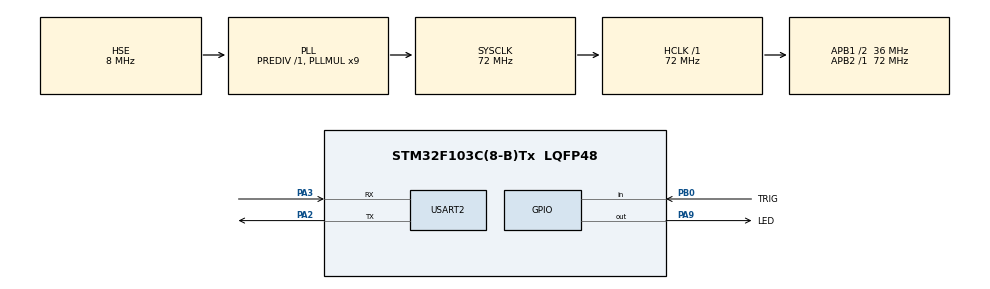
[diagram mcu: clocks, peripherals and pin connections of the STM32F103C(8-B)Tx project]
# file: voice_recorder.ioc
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Mcu.Family=STM32F1
Mcu.Name=STM32F103C(8-B)Tx
Mcu.Package=LQFP48
NVIC.PriorityGroup=NVIC_PRIORITYGROUP_4
NVIC.TIM4_IRQn=true\:0\:0\:false\:false\:true\:true\:true\:true
PA13.Mode=Serial_Wire
PA13.Signal=SYS_JTMS-SWDIO
PA14.Mode=Serial_Wire
PA14.Signal=SYS_JTCK-SWCLK
PA2.Mode=Asynchronous
PA2.Signal=USART2_TX
PA3.Mode=Asynchronous
PA3.Signal=USART2_RX
PA9.GPIO_Label=LED
PA9.Signal=GPIO_Output
PB0.GPIO_Label=TRIG
PB0.GPIO_PuPd=GPIO_PULLUP
PB0.Signal=GPIO_Input
PD0-OSC_IN.Mode=HSE-External-Oscillator
PD0-OSC_IN.Signal=RCC_OSC_IN
PD1-OSC_OUT.Mode=HSE-External-Oscillator
PD1-OSC_OUT.Signal=RCC_OSC_OUT
ProjectManager.HeapSize=0x200
ProjectManager.StackSize=0x400
ProjectManager.TargetToolchain=STM32CubeIDE
RCC.AHBFreq_Value=72000000
RCC.APB1CLKDivider=RCC_HCLK_DIV2
RCC.APB1Freq_Value=36000000
RCC.APB1TimFreq_Value=72000000
RCC.APB2Freq_Value=72000000
RCC.APB2TimFreq_Value=72000000
RCC.HCLKFreq_Value=72000000
RCC.PLLMUL=RCC_PLL_MUL9
RCC.PLLSourceVirtual=RCC_PLLSOURCE_HSE
RCC.SYSCLKFreq_VALUE=72000000
RCC.SYSCLKSource=RCC_SYSCLKSOURCE_PLLCLK
RCC.USBFreq_Value=72000000
TIM4.AutoReloadPreload=TIM_AUTORELOAD_PRELOAD_ENABLE
TIM4.Period=1000
TIM4.Prescaler=72
USART2.VirtualMode=VM_ASYNC
VP_TIM4_VS_ClockSourceINT.Mode=Internal
board=custom

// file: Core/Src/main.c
/* USER CODE BEGIN Header */
/**
  ******************************************************************************
  * @file           : main.c
  * @brief          : Main program body
  ******************************************************************************
  * @attention
  *
  * Copyright (c) 2024 STMicroelectronics.
  * All rights reserved.
  *
  * This software is licensed under terms that can be found in the LICENSE file
  * in the root directory of this software component.
  * If no LICENSE file comes with this software, it is provided AS-IS.
  *
  ******************************************************************************
  */
/* USER CODE END Header */
#include "main.h"

/* USER CODE BEGIN Includes */
#include <string.h>
/* USER CODE END Includes */

/* USER CODE BEGIN PD */

#define DEBOUNCETIME 50
/* USER CODE END PD */

TIM_HandleTypeDef htim4;

UART_HandleTypeDef huart2;

/* USER CODE BEGIN PV */
uint8_t lastbutton,actbutton;
uint8_t debouncetimer;
char* playmode = "AT+PLAYMODE=3\r\n";
char* function = "AT+FUNCTION=1\r\n";
char* promptoff = "AT+PROMPT=OFF\r\n";
char* play = "AT+PLAY=LAST\r\n";

uint16_t ledtimer = 0;

/* USER CODE END PV */

void SystemClock_Config(void);
static void MX_GPIO_Init(void);
static void MX_USART2_UART_Init(void);
static void MX_TIM4_Init(void);

int main(void)
{

  /* MCU Configuration--------------------------------------------------------*/

  /* Reset of all peripherals, Initializes the Flash interface and the Systick. */
  HAL_Init();

  /* Configure the system clock */
  SystemClock_Config();

  /* Initialize all configured peripherals */
  MX_GPIO_Init();
  MX_USART2_UART_Init();
  MX_TIM4_Init();
  /* USER CODE BEGIN 2 */
  lastbutton = actbutton = HAL_GPIO_ReadPin(TRIG_GPIO_Port, TRIG_Pin);
  HAL_TIM_Base_Start_IT(&htim4);
  //led = low = green, high = red

  HAL_GPIO_WritePin(LED_GPIO_Port, LED_Pin, GPIO_PIN_RESET);//green
  HAL_Delay(500);
  HAL_GPIO_WritePin(LED_GPIO_Port, LED_Pin, GPIO_PIN_SET);//red
  HAL_Delay(500);
  HAL_GPIO_WritePin(LED_GPIO_Port, LED_Pin, GPIO_PIN_RESET);//green
  HAL_Delay(500);
  HAL_GPIO_WritePin(LED_GPIO_Port, LED_Pin, GPIO_PIN_SET);//red
  HAL_Delay(500);
  HAL_GPIO_WritePin(LED_GPIO_Port, LED_Pin, GPIO_PIN_RESET);//green
  HAL_UART_Transmit(&huart2, promptoff, strlen(promptoff), 100);
  HAL_Delay(500);
  HAL_GPIO_WritePin(LED_GPIO_Port, LED_Pin, GPIO_PIN_SET);//red
  HAL_UART_Transmit(&huart2, function, strlen(function), 100);
  HAL_Delay(500);
  HAL_GPIO_WritePin(LED_GPIO_Port, LED_Pin, GPIO_PIN_RESET);//green
  HAL_UART_Transmit(&huart2, playmode, strlen(playmode), 100);
  HAL_Delay(500);
  HAL_GPIO_WritePin(LED_GPIO_Port, LED_Pin, GPIO_PIN_SET);//red
  HAL_Delay(500);
  HAL_GPIO_WritePin(LED_GPIO_Port, LED_Pin, GPIO_PIN_RESET);//green
  /* USER CODE END 2 */

  /* Infinite loop */
  /* USER CODE BEGIN WHILE */
  while (1)
  {
	  actbutton = HAL_GPIO_ReadPin(TRIG_GPIO_Port, TRIG_Pin);
	  if(actbutton != lastbutton)
	  {
		  debouncetimer = DEBOUNCETIME;
		  while(debouncetimer >0)
		  {
			  actbutton = HAL_GPIO_ReadPin(TRIG_GPIO_Port, TRIG_Pin);
			  if(actbutton != lastbutton)
			  {
				  debouncetimer = DEBOUNCETIME;
				  lastbutton = actbutton;
			  }
		  }
		  if(lastbutton == 0)
		  {
			  HAL_GPIO_WritePin(LED_GPIO_Port, LED_Pin, GPIO_PIN_SET);//red
			  ledtimer = 2000;
			  HAL_UART_Transmit(&huart2, play, strlen(play), 100);
		  }
	  }
    /* USER CODE END WHILE */

  }
}

void SystemClock_Config(void)
{
  RCC_OscInitTypeDef RCC_OscInitStruct = {0};
  RCC_ClkInitTypeDef RCC_ClkInitStruct = {0};

  /** Initializes the RCC Oscillators according to the specified parameters
  * in the RCC_OscInitTypeDef structure.
  */
  RCC_OscInitStruct.OscillatorType = RCC_OSCILLATORTYPE_HSE;
  RCC_OscInitStruct.HSEState = RCC_HSE_ON;
  RCC_OscInitStruct.HSEPredivValue = RCC_HSE_PREDIV_DIV1;
  RCC_OscInitStruct.HSIState = RCC_HSI_ON;
  RCC_OscInitStruct.PLL.PLLState = RCC_PLL_ON;
  RCC_OscInitStruct.PLL.PLLSource = RCC_PLLSOURCE_HSE;
  RCC_OscInitStruct.PLL.PLLMUL = RCC_PLL_MUL9;
  if (HAL_RCC_OscConfig(&RCC_OscInitStruct) != HAL_OK)
  {
    Error_Handler();
  }

  /** Initializes the CPU, AHB and APB buses clocks
  */
  RCC_ClkInitStruct.ClockType = RCC_CLOCKTYPE_HCLK|RCC_CLOCKTYPE_SYSCLK
                              |RCC_CLOCKTYPE_PCLK1|RCC_CLOCKTYPE_PCLK2;
  RCC_ClkInitStruct.SYSCLKSource = RCC_SYSCLKSOURCE_PLLCLK;
  RCC_ClkInitStruct.AHBCLKDivider = RCC_SYSCLK_DIV1;
  RCC_ClkInitStruct.APB1CLKDivider = RCC_HCLK_DIV2;
  RCC_ClkInitStruct.APB2CLKDivider = RCC_HCLK_DIV1;

  if (HAL_RCC_ClockConfig(&RCC_ClkInitStruct, FLASH_LATENCY_2) != HAL_OK)
  {
    Error_Handler();
  }
}

static void MX_TIM4_Init(void)
{

  TIM_ClockConfigTypeDef sClockSourceConfig = {0};
  TIM_MasterConfigTypeDef sMasterConfig = {0};

  htim4.Instance = TIM4;
  htim4.Init.Prescaler = 72;
  htim4.Init.CounterMode = TIM_COUNTERMODE_UP;
  htim4.Init.Period = 1000;
  htim4.Init.ClockDivision = TIM_CLOCKDIVISION_DIV1;
  htim4.Init.AutoReloadPreload = TIM_AUTORELOAD_PRELOAD_ENABLE;
  if (HAL_TIM_Base_Init(&htim4) != HAL_OK)
  {
    Error_Handler();
  }
  sClockSourceConfig.ClockSource = TIM_CLOCKSOURCE_INTERNAL;
  if (HAL_TIM_ConfigClockSource(&htim4, &sClockSourceConfig) != HAL_OK)
  {
    Error_Handler();
  }
  sMasterConfig.MasterOutputTrigger = TIM_TRGO_RESET;
  sMasterConfig.MasterSlaveMode = TIM_MASTERSLAVEMODE_DISABLE;
  if (HAL_TIMEx_MasterConfigSynchronization(&htim4, &sMasterConfig) != HAL_OK)
  {
    Error_Handler();
  }

}

static void MX_USART2_UART_Init(void)
{

  huart2.Instance = USART2;
  huart2.Init.BaudRate = 115200;
  huart2.Init.WordLength = UART_WORDLENGTH_8B;
  huart2.Init.StopBits = UART_STOPBITS_1;
  huart2.Init.Parity = UART_PARITY_NONE;
  huart2.Init.Mode = UART_MODE_TX_RX;
  huart2.Init.HwFlowCtl = UART_HWCONTROL_NONE;
  huart2.Init.OverSampling = UART_OVERSAMPLING_16;
  if (HAL_UART_Init(&huart2) != HAL_OK)
  {
    Error_Handler();
  }

}

static void MX_GPIO_Init(void)
{
  GPIO_InitTypeDef GPIO_InitStruct = {0};

  /* GPIO Ports Clock Enable */
  __HAL_RCC_GPIOD_CLK_ENABLE();
  __HAL_RCC_GPIOA_CLK_ENABLE();
  __HAL_RCC_GPIOB_CLK_ENABLE();

  /*Configure GPIO pin Output Level */
  HAL_GPIO_WritePin(LED_GPIO_Port, LED_Pin, GPIO_PIN_RESET);

  /*Configure GPIO pin : TRIG_Pin */
  GPIO_InitStruct.Pin = TRIG_Pin;
  GPIO_InitStruct.Mode = GPIO_MODE_INPUT;
  GPIO_InitStruct.Pull = GPIO_PULLUP;
  HAL_GPIO_Init(TRIG_GPIO_Port, &GPIO_InitStruct);

  /*Configure GPIO pin : LED_Pin */
  GPIO_InitStruct.Pin = LED_Pin;
  GPIO_InitStruct.Mode = GPIO_MODE_OUTPUT_PP;
  GPIO_InitStruct.Pull = GPIO_NOPULL;
  GPIO_InitStruct.Speed = GPIO_SPEED_FREQ_LOW;
  HAL_GPIO_Init(LED_GPIO_Port, &GPIO_InitStruct);

}

/* USER CODE BEGIN 4 */
void HAL_TIM_PeriodElapsedCallback(TIM_HandleTypeDef *htim)
{
	if(debouncetimer>0)
	{
		debouncetimer--;
	}
	if(ledtimer > 0)
	{
		ledtimer--;
		if(ledtimer == 0)
		{
			HAL_GPIO_WritePin(LED_GPIO_Port, LED_Pin, GPIO_PIN_RESET);//green
		}
	}

}
/* USER CODE END 4 */

void Error_Handler(void)
{
  __disable_irq();
  while (1)
  {
  }
}
